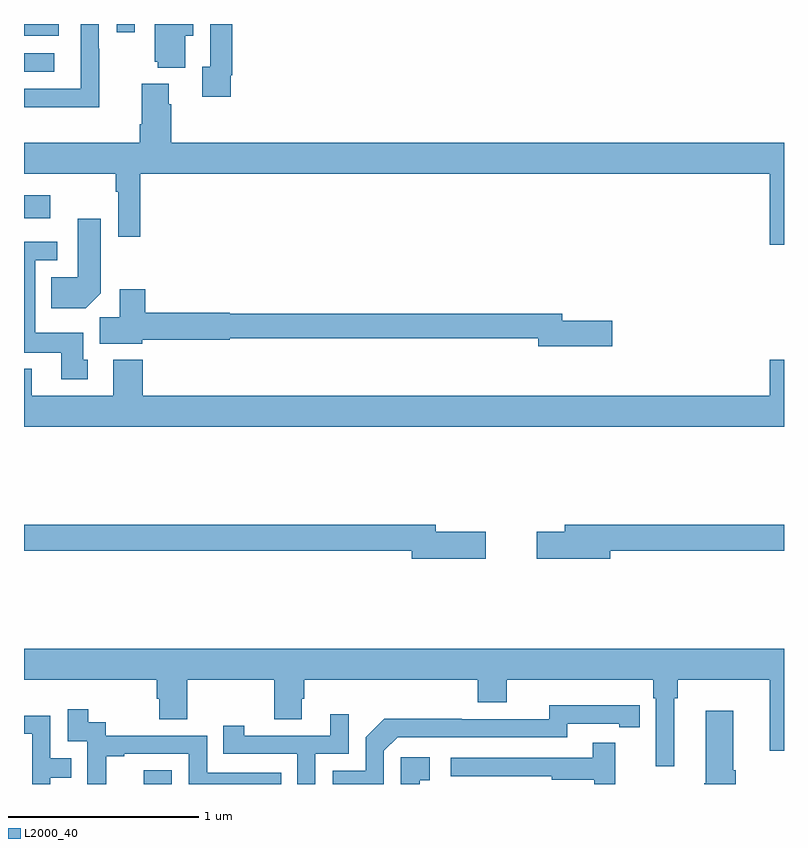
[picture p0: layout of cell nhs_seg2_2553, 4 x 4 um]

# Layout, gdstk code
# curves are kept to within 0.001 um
import gdstk
lib = gdstk.Library(unit=1e-6, precision=1e-09)
def R(c, l, rs):  # rectangles x0, y0, x1, y1
    for r in rs: c.add(gdstk.rectangle(r[:2], r[2:], *l))
def P(c, l, *ps):  # polygons
    for p in ps: c.add(gdstk.Polygon(p, *l))
L2000_40 = (2000, 40)

nhs_seg2_2553 = lib.new_cell('nhs_seg2_2553')
R(nhs_seg2_2553, L2000_40, [(245.631,601.8,245.778,601.873), (245,604.778,245.137,604.9), (245,605.55,245.158,605.646), (245,605.738,245.182,605.8), (245.487,605.757,245.583,605.8)])
P(nhs_seg2_2553, L2000_40, [(245.397,605.669),(245.394,605.669),(245.394,605.8),(245.298,605.8),(245.298,605.46),(245,605.46),(245,605.363),(245.397,605.363)],
  [(245.848,605.738),(245.89,605.738),(245.89,605.8),(245.687,605.8),(245.687,605.601),(245.705,605.601),(245.705,605.57),(245.848,605.57)],
  [(246.088,605.53),(246.095,605.53),(246.095,605.8),(245.979,605.8),(245.979,605.574),(245.939,605.574),(245.939,605.418),(246.088,605.418)],
  [(245.621,605.485),(245.621,605.272),(245.609,605.272),(245.609,605.176),(245,605.176),(245,605.012),(245.484,605.012),(245.484,604.916),(245.496,604.916),(245.496,604.68),(245.612,604.68),(245.612,605.012),(248.924,605.012),(248.924,604.638),(249,604.638),(249,605.176),(245.774,605.176),(245.774,605.378),(245.761,605.378),(245.761,605.485)],
  [(245.404,604.382),(245.404,604.774),(245.282,604.774),(245.282,604.468),(245.143,604.468),(245.143,604.304),(245.326,604.304)],
  [(245.335,604.032),(245.311,604.032),(245.311,604.174),(245.058,604.174),(245.058,604.557),(245.176,604.557),(245.176,604.653),(245,604.653),(245,604.07),(245.195,604.07),(245.195,603.93),(245.335,603.93)],
  [(248.095,604.238),(247.834,604.238),(247.834,604.274),(246.084,604.274),(246.084,604.28),(245.639,604.28),(245.639,604.405),(245.504,604.405),(245.504,604.256),(245.399,604.256),(245.399,604.118),(245.622,604.118),(245.622,604.138),(246.084,604.138),(246.084,604.146),(247.706,604.146),(247.706,604.103),(248.095,604.103)],
  [(249,604.033),(248.924,604.033),(248.924,603.844),(245.624,603.844),(245.624,604.033),(245.471,604.033),(245.471,603.844),(245.041,603.844),(245.041,603.985),(245,603.985),(245,603.68),(249,603.68)],
  [(247.429,603.128),(247.168,603.128),(247.168,603.164),(245,603.164),(245,603.028),(247.04,603.028),(247.04,602.986),(247.429,602.986)],
  [(248.086,603.028),(249,603.028),(249,603.164),(247.847,603.164),(247.847,603.128),(247.698,603.128),(247.698,602.986),(248.086,602.986)],
  [(245,602.348),(245.699,602.348),(245.699,602.25),(245.711,602.25),(245.711,602.14),(245.859,602.14),(245.859,602.348),(246.316,602.348),(246.316,602.14),(246.463,602.14),(246.463,602.25),(246.476,602.25),(246.476,602.348),(247.388,602.348),(247.388,602.231),(247.54,602.231),(247.54,602.348),(248.312,602.348),(248.312,602.252),(248.325,602.252),(248.325,601.893),(248.422,601.893),(248.422,602.252),(248.441,602.252),(248.441,602.348),(248.924,602.348),(248.924,601.974),(249,601.974),(249,602.512),(245,602.512)],
  [(246.894,601.974),(246.966,602.046),(247.86,602.046),(247.86,602.118),(248.132,602.118),(248.132,602.098),(248.24,602.098),(248.24,602.214),(247.764,602.215),(247.764,602.142),(247.304,602.142),(247.304,602.144),(246.896,602.144),(246.798,602.046),(246.798,601.869),(246.624,601.869),(246.624,601.8),(246.894,601.8)],
  [(245.432,601.947),(245.527,601.947),(245.527,601.959),(245.868,601.959),(245.868,601.8),(246.353,601.8),(246.353,601.86),(245.964,601.86),(245.964,602.055),(245.43,602.055),(245.43,602.124),(245.338,602.124),(245.338,602.194),(245.229,602.194),(245.229,602.025),(245.334,602.025),(245.334,601.8),(245.432,601.8)],
  [(248.747,601.872),(248.734,601.872),(248.734,602.185),(248.588,602.185),(248.588,601.805),(248.581,601.805),(248.581,601.8),(248.747,601.8)],
  [(246.534,601.959),(246.708,601.959),(246.708,602.167),(246.611,602.167),(246.611,602.055),(246.16,602.055),(246.16,602.107),(246.049,602.107),(246.049,601.959),(246.438,601.959),(246.438,601.8),(246.534,601.8)],
  [(245.139,601.834),(245.249,601.834),(245.249,601.935),(245.139,601.935),(245.139,602.16),(245,602.16),(245,602.064),(245.043,602.064),(245.043,601.8),(245.139,601.8)],
  [(248.111,602.017),(247.993,602.017),(247.993,601.938),(247.245,601.938),(247.245,601.842),(247.777,601.842),(247.777,601.822),(248.001,601.822),(248.001,601.8),(248.111,601.8)],
  [(247.082,601.821),(247.135,601.821),(247.135,601.942),(246.984,601.942),(246.984,601.8),(247.082,601.8)])

lib.write_gds('nhs_seg2_2553.gds')
